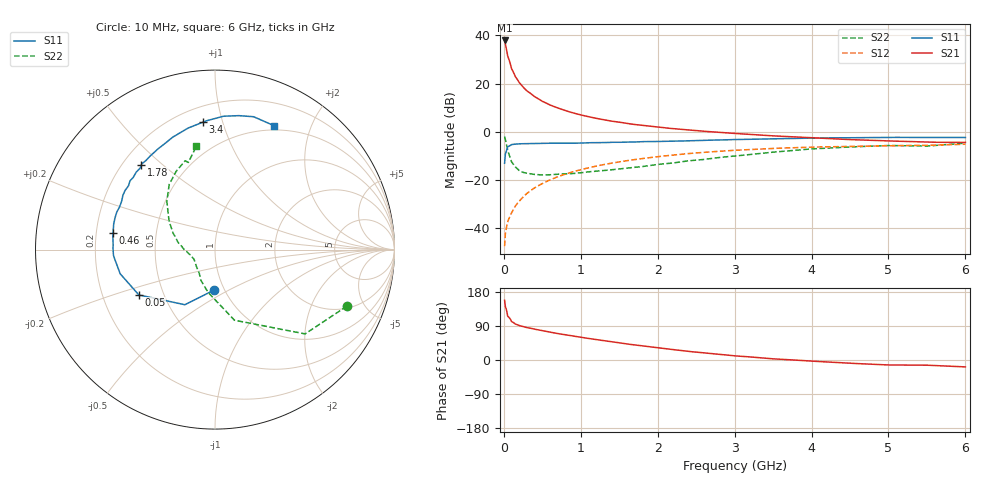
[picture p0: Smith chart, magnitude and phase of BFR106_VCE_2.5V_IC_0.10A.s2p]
! Infineon Technologies  Discrete & RF Semiconductors
! BFR106
! VCE =  2.5 V,  IC = 0.10 A
! Common Emitter S-Parameters:  Nov 2015
# GHz  S  MA  R  50
!  f  S11  S21  S12  S22
! GHz  MAG  ANG  MAG  ANG  MAG  ANG  MAG  ANG
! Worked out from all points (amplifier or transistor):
!   210 points, 10 MHz to 6 GHz, reference 50 ohm
!   highest |S21| = 37.9 dB at 10 MHz (marker M1)
!   |S21| within 3 dB of that: start of sweep to 29.87 MHz
!   unconditionally stable (mu >= 1): 139.4 MHz to 2.991 GHz; 3.055 GHz to 3.237 GHz; 4.556 GHz to end of sweep
!   at 185 MHz: K = 1.05, MAG = 23.9 dB, |S12| = -29.2 dB
!   at 1.52 GHz: K = 1.08, MAG = 6.4 dB, |S12| = -12.3 dB
!   at 6 GHz: K = 1.02, MAG = -0.4 dB, |S12| = -5.1 dB
!   S11 on the Smith chart (normalised r, x): 10 MHz: 0.90, -0.42; 50 MHz: 0.36, -0.24; 460 MHz: 0.27, +0.08; 1.78 GHz: 0.27, +0.43; 3.4 GHz: 0.30, +0.86; 6 GHz: 0.45, +1.49
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0.01  0.2246 -90.9  78.09 157.4  0.0043 72.8  0.7997 -23.2
0.02  0.3501 -118.7  65.43 140.5  0.0078 63.4  0.6874 -43.1
0.05  0.4937 -149.2  37.33 115.6  0.0136 60.9  0.4081 -74.6
0.1  0.5452 -165.7  20.43 101.5  0.021 65.5  0.2405 -99.4
0.15  0.5584 -173.2  13.89 94.8  0.0291 68.9  0.188 -114.8
0.2  0.5667 -176.9  10.54 91.0  0.0368 72.1  0.1585 -123.6
0.26  0.5685 178.9  8.146 87.4  0.0464 73.1  0.1436 -134.0
0.3  0.5679 177.5  7.06 85.5  0.0531 73.8  0.1395 -138.2
0.4  0.5741 172.5  5.354 81.3  0.0694 73.8  0.1315 -147.5
0.46  0.5756 170.5  4.716 79.2  0.0786 73.3  0.1293 -151.1
0.5  0.5769 169.2  4.296 77.4  0.0848 73.1  0.1282 -153.6
0.6  0.5824 165.7  3.607 73.5  0.1014 72.4  0.1294 -157.1
0.7  0.5846 162.1  3.124 69.7  0.1174 71.2  0.1331 -160.6
1.02  0.5879 151.9  2.204 59.5  0.1679 66.5  0.1435 -169.2
1.3  0.5988 143.6  1.778 50.9  0.2105 61.7  0.1578 -176.2
1.78  0.626 130.9  1.378 37.9  0.2777 53.7  0.1898 173.3
2.02  0.634 124.9  1.246 31.9  0.3091 49.4  0.2132 167.8
3.1  0.6972 100.8  0.907 9.6  0.423 31.3  0.3274 142.7
3.4  0.7129 95.5  0.846 4.8  0.4473 26.6  0.3664 136.6
4.1  0.7466 85.0  0.74 -4.1  0.4868 16.2  0.4513 123.2
5.1  0.7692 72.7  0.642 -13.2  0.5183 4.2  0.5191 108.3
6  0.7648 64.5  0.605 -18.2  0.5548 -4.9  0.5852 100.2
